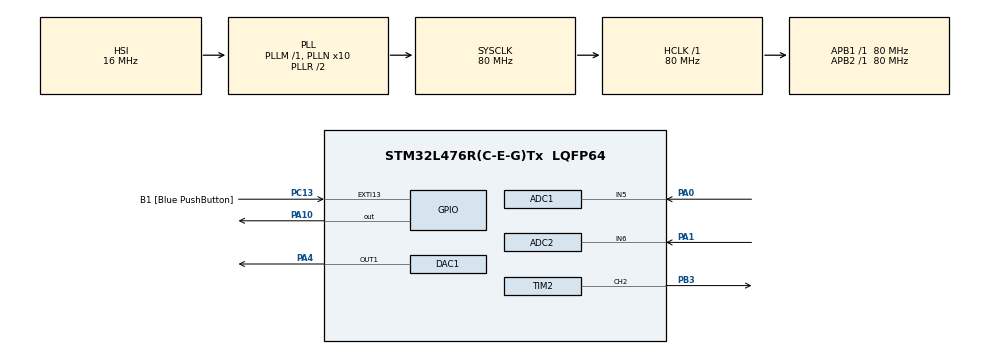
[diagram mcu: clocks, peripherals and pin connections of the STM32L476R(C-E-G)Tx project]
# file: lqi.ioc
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ADC1.Channel-0\#ChannelRegularConversion=ADC_CHANNEL_5
ADC1.ContinuousConvMode=ENABLE
ADC1.DMAContinuousRequests=ENABLE
ADC1.NbrOfConversionFlag=1
ADC1.OffsetNumber-0\#ChannelRegularConversion=ADC_OFFSET_NONE
ADC1.Rank-0\#ChannelRegularConversion=1
ADC1.SamplingTime-0\#ChannelRegularConversion=ADC_SAMPLETIME_92CYCLES_5
ADC1.master=1
ADC2.Channel-0\#ChannelRegularConversion=ADC_CHANNEL_6
ADC2.ContinuousConvMode=ENABLE
ADC2.DMAContinuousRequests=ENABLE
ADC2.NbrOfConversionFlag=1
ADC2.OffsetNumber-0\#ChannelRegularConversion=ADC_OFFSET_NONE
ADC2.Rank-0\#ChannelRegularConversion=1
ADC2.SamplingTime-0\#ChannelRegularConversion=ADC_SAMPLETIME_92CYCLES_5
Dma.ADC1.0.Direction=DMA_PERIPH_TO_MEMORY
Dma.ADC1.0.Instance=DMA1_Channel1
Dma.ADC1.0.MemDataAlignment=DMA_MDATAALIGN_HALFWORD
Dma.ADC1.0.MemInc=DMA_MINC_ENABLE
Dma.ADC1.0.Mode=DMA_CIRCULAR
Dma.ADC1.0.PeriphDataAlignment=DMA_PDATAALIGN_HALFWORD
Dma.ADC1.0.PeriphInc=DMA_PINC_DISABLE
Dma.ADC1.0.Priority=DMA_PRIORITY_LOW
Dma.ADC2.1.Direction=DMA_PERIPH_TO_MEMORY
Dma.ADC2.1.Instance=DMA1_Channel2
Dma.ADC2.1.MemDataAlignment=DMA_MDATAALIGN_HALFWORD
Dma.ADC2.1.MemInc=DMA_MINC_ENABLE
Dma.ADC2.1.Mode=DMA_CIRCULAR
Dma.ADC2.1.PeriphDataAlignment=DMA_PDATAALIGN_HALFWORD
Dma.ADC2.1.PeriphInc=DMA_PINC_DISABLE
Dma.ADC2.1.Priority=DMA_PRIORITY_LOW
Dma.Request0=ADC1
Dma.Request1=ADC2
Mcu.Family=STM32L4
Mcu.Name=STM32L476R(C-E-G)Tx
Mcu.Package=LQFP64
NVIC.DMA1_Channel1_IRQn=true\:0\:0\:false\:false\:true\:false\:true
NVIC.DMA1_Channel2_IRQn=true\:0\:0\:false\:false\:true\:false\:true
NVIC.PriorityGroup=NVIC_PRIORITYGROUP_4
NVIC.TIM3_IRQn=true\:0\:0\:false\:false\:true\:true\:true
PA0.Signal=ADCx_IN5
PA1.Signal=ADCx_IN6
PA10.Signal=GPIO_Output
PA13\ (JTMS-SWDIO).GPIO_Label=TMS
PA13\ (JTMS-SWDIO).Mode=Serial_Wire
PA13\ (JTMS-SWDIO).Signal=SYS_JTMS-SWDIO
PA14\ (JTCK-SWCLK).GPIO_Label=TCK
PA14\ (JTCK-SWCLK).Mode=Serial_Wire
PA14\ (JTCK-SWCLK).Signal=SYS_JTCK-SWCLK
PA4.Signal=COMP_DAC11_group
PB3\ (JTDO-TRACESWO).Signal=S_TIM2_CH2
PC13.GPIO_Label=B1 [Blue PushButton]
PC13.GPIO_ModeDefaultEXTI=GPIO_MODE_IT_FALLING
PC13.GPIO_PuPd=GPIO_NOPULL
PC13.Signal=GPXTI13
PC14-OSC32_IN\ (PC14).Mode=LSE-External-Oscillator
PC14-OSC32_IN\ (PC14).Signal=RCC_OSC32_IN
PC15-OSC32_OUT\ (PC15).Mode=LSE-External-Oscillator
PC15-OSC32_OUT\ (PC15).Signal=RCC_OSC32_OUT
PH0-OSC_IN\ (PH0).Signal=RCC_OSC_IN
PH1-OSC_OUT\ (PH1).Signal=RCC_OSC_OUT
ProjectManager.HeapSize=0x200
ProjectManager.StackSize=0x400
ProjectManager.TargetToolchain=STM32CubeIDE
RCC.ADCFreq_Value=64000000
RCC.AHBFreq_Value=80000000
RCC.APB1Freq_Value=80000000
RCC.APB1TimFreq_Value=80000000
RCC.APB2Freq_Value=80000000
RCC.APB2TimFreq_Value=80000000
RCC.CortexFreq_Value=80000000
RCC.HCLKFreq_Value=80000000
RCC.HSE_VALUE=8000000
RCC.HSI_VALUE=16000000
RCC.MSI_VALUE=4000000
RCC.PLLN=10
RCC.PLLSourceVirtual=RCC_PLLSOURCE_HSI
RCC.PREFETCH_ENABLE=1
RCC.SYSCLKFreq_VALUE=80000000
RCC.SYSCLKSource=RCC_SYSCLKSOURCE_PLLCLK
RCC.USBFreq_Value=64000000
RCC.VCOOutputFreq_Value=160000000
SH.ADCx_IN5.0=ADC1_IN5,IN5-Single-Ended
SH.ADCx_IN6.0=ADC2_IN6,IN6-Single-Ended
SH.COMP_DAC11_group.0=DAC1_OUT1,DAC_OUT1
SH.S_TIM2_CH2.0=TIM2_CH2,PWM Generation2 CH2
TIM2.Channel-PWM\ Generation2\ CH2=TIM_CHANNEL_2
TIM2.Period=2000-1
TIM3.Period=100-1
TIM3.Prescaler=80-1
VP_TIM3_VS_ClockSourceINT.Mode=Internal
board=NUCLEO-L476RG

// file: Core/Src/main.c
/* USER CODE BEGIN Header */
/**
  ******************************************************************************
  * @file           : main.c
  * @brief          : Main program body
  ******************************************************************************
  * @attention
  *
  * <h2><center>&copy; Copyright (c) 2020 STMicroelectronics.
  * All rights reserved.</center></h2>
  *
  * This software component is licensed by ST under BSD 3-Clause license,
  * the "License"; You may not use this file except in compliance with the
  * License. You may obtain a copy of the License at:
  *                        opensource.org/licenses/BSD-3-Clause
  *
  ******************************************************************************
  */
/* USER CODE END Header */

#include "main.h"

/* USER CODE BEGIN Includes */
#include <string.h>
#include <stdio.h>
#include <stdbool.h>
/* USER CODE END Includes */

/* USER CODE BEGIN PD */
#define SIZE 7
#define COUNTER_PERIOD 3999
/* USER CODE END PD */

ADC_HandleTypeDef hadc1;
ADC_HandleTypeDef hadc2;
DMA_HandleTypeDef hdma_adc1;
DMA_HandleTypeDef hdma_adc2;

DAC_HandleTypeDef hdac1;

TIM_HandleTypeDef htim2;
TIM_HandleTypeDef htim3;

/* USER CODE BEGIN PV */
int u = 0;
const int xs0 = 50;
const int xs1 = 5000;
const int us = 337900;
uint16_t iter = 0;
int x[2] = {0,0};
int y[2] = {0,0};
int x_est[2] = {0,0};
int64_t integral = 0;
bool settled = false;
uint8_t settling_iter = 0;
int K[2] = {4305,86};

uint16_t adc_buf0[SIZE];
uint16_t adc_buf1[SIZE];
/* USER CODE END PV */

void SystemClock_Config(void);
static void MX_GPIO_Init(void);
static void MX_DMA_Init(void);
static void MX_ADC1_Init(void);
static void MX_ADC2_Init(void);
static void MX_DAC1_Init(void);
static void MX_TIM2_Init(void);
static void MX_TIM3_Init(void);

/* USER CODE BEGIN 0 */
void swap(int* a, int* b)
{
	int t = *a;
    *a = *b;
    *b = t;
}

int partition (int arr[], int low, int high)
{
	int pivot = arr[high];    // pivot
	int i = (low - 1);  // Index of smaller element

    for (int j = low; j <= high- 1; j++)
    {
        // If current element is smaller than the pivot
        if (arr[j] < pivot)
        {
            i++;    // increment index of smaller element
            swap(&arr[i], &arr[j]);
        }
    }
    swap(&arr[i + 1], &arr[high]);
    return (i + 1);
}

void quickSort(int arr[], int low, int high)
{
    if (low < high)
    {
        /* pi is partitioning index, arr[p] is now
           at right place */
    	int pi = partition(arr, low, high);

        // Separately sort elements before
        // partition and after partition
        quickSort(arr, low, pi - 1);
        quickSort(arr, pi + 1, high);
    }
}

int get_median(int *values){
	int n = sizeof(values)/sizeof(values[0]);
    quickSort(values, 0, n-1);
    return values[SIZE/2];
}

void HAL_TIM_PeriodElapsedCallback(TIM_HandleTypeDef *htim)
{
	if (htim->Instance == htim3.Instance)
    {
		if(iter < 10000){
			iter++;
		}
		else{
			HAL_GPIO_WritePin(GPIOA,GPIO_PIN_10,GPIO_PIN_SET);
			// State measurement
			int value0[SIZE];
			int value1[SIZE];
			for(uint8_t i = 0; i<SIZE; i++){
				value0[i] = (int)adc_buf0[i];
				value1[i] = (int)adc_buf1[i];
			}
			y[0] = get_median(value0);   y[0] *= 1075;  y[0] /= 10000;
			y[1] = get_median(value1);   y[1] *= 29500; y[1] /= 10000;

			// State estimate
			int x0_prev = x[0];
			int x1_prev = x[1];
			x_est[0] = 97136*x0_prev - 978*x1_prev + 14878*u;    x_est[0] /= 100000;
			x_est[1] = 173187*x0_prev + 97046*x1_prev + 18083*u; x_est[1] /= 100000;

			// Combination
			int alpha = 500;
			int alpha_bar = 1000-alpha;
			x[0] = alpha*y[0] + alpha_bar*x_est[0]; x[0] /= 1000;
			x[1] = alpha*y[1] + alpha_bar*x_est[1]; x[1] /= 1000;

			//  LQR
			int dx0 = x[0] - xs0;
			int dx1 = x[1] - xs1;

			u = -K[0]*dx0 - K[1]*dx1;

			if(!settled){
				int diff = x[0]-x0_prev;
				if(diff > -100 && diff < 100){
					settling_iter++;
					if(settling_iter == 100){
						settled = true;
					}
				}
				else{
					settling_iter = 0;
				}
			}
			else{
				int error = 5000-y[1];
				integral += error;
				u += 10*integral;
			}
			u += us;  u /= 1000;
			int input = u*COUNTER_PERIOD/1000;
			if(input < 0) input = 0;
			if(input > COUNTER_PERIOD) input = COUNTER_PERIOD;
			htim2.Instance->CCR2 = input;
			HAL_DAC_SetValue(&hdac1, DAC_CHANNEL_1, DAC_ALIGN_12B_R, input*4095/13197);
		}
	}
	//HAL_GPIO_WritePin(GPIOA,GPIO_PIN_10,GPIO_PIN_RESET);
}
/* USER CODE END 0 */

int main(void)
{

  /* MCU Configuration--------------------------------------------------------*/

  /* Reset of all peripherals, Initializes the Flash interface and the Systick. */
  HAL_Init();

  /* Configure the system clock */
  SystemClock_Config();

  /* Initialize all configured peripherals */
  MX_GPIO_Init();
  MX_DMA_Init();
  MX_ADC1_Init();
  MX_ADC2_Init();
  MX_DAC1_Init();
  MX_TIM2_Init();
  MX_TIM3_Init();
  /* USER CODE BEGIN 2 */
  HAL_DAC_Start(&hdac1, DAC_CHANNEL_1);
  HAL_DAC_Start(&hdac1, DAC_CHANNEL_2);
  HAL_ADC_Start_DMA(&hadc2, (uint32_t*)adc_buf0, SIZE);
  HAL_ADC_Start_DMA(&hadc1, (uint32_t*)adc_buf1, SIZE);
  HAL_TIM_Base_Start_IT(&htim3);
  HAL_TIM_PWM_Start(&htim2, TIM_CHANNEL_2);
  htim2.Instance->CCR2 = 0;
  /* USER CODE END 2 */

  /* Infinite loop */
  while (1)
  {

  }
}

void SystemClock_Config(void)
{
  RCC_OscInitTypeDef RCC_OscInitStruct = {0};
  RCC_ClkInitTypeDef RCC_ClkInitStruct = {0};
  RCC_PeriphCLKInitTypeDef PeriphClkInit = {0};

  /** Initializes the CPU, AHB and APB busses clocks
  */
  RCC_OscInitStruct.OscillatorType = RCC_OSCILLATORTYPE_HSI;
  RCC_OscInitStruct.HSIState = RCC_HSI_ON;
  RCC_OscInitStruct.HSICalibrationValue = RCC_HSICALIBRATION_DEFAULT;
  RCC_OscInitStruct.PLL.PLLState = RCC_PLL_ON;
  RCC_OscInitStruct.PLL.PLLSource = RCC_PLLSOURCE_HSI;
  RCC_OscInitStruct.PLL.PLLM = 1;
  RCC_OscInitStruct.PLL.PLLN = 10;
  RCC_OscInitStruct.PLL.PLLP = RCC_PLLP_DIV7;
  RCC_OscInitStruct.PLL.PLLQ = RCC_PLLQ_DIV2;
  RCC_OscInitStruct.PLL.PLLR = RCC_PLLR_DIV2;
  if (HAL_RCC_OscConfig(&RCC_OscInitStruct) != HAL_OK)
  {
    Error_Handler();
  }
  /** Initializes the CPU, AHB and APB busses clocks
  */
  RCC_ClkInitStruct.ClockType = RCC_CLOCKTYPE_HCLK|RCC_CLOCKTYPE_SYSCLK
                              |RCC_CLOCKTYPE_PCLK1|RCC_CLOCKTYPE_PCLK2;
  RCC_ClkInitStruct.SYSCLKSource = RCC_SYSCLKSOURCE_PLLCLK;
  RCC_ClkInitStruct.AHBCLKDivider = RCC_SYSCLK_DIV1;
  RCC_ClkInitStruct.APB1CLKDivider = RCC_HCLK_DIV1;
  RCC_ClkInitStruct.APB2CLKDivider = RCC_HCLK_DIV1;

  if (HAL_RCC_ClockConfig(&RCC_ClkInitStruct, FLASH_LATENCY_4) != HAL_OK)
  {
    Error_Handler();
  }
  PeriphClkInit.PeriphClockSelection = RCC_PERIPHCLK_ADC;
  PeriphClkInit.AdcClockSelection = RCC_ADCCLKSOURCE_PLLSAI1;
  PeriphClkInit.PLLSAI1.PLLSAI1Source = RCC_PLLSOURCE_HSI;
  PeriphClkInit.PLLSAI1.PLLSAI1M = 1;
  PeriphClkInit.PLLSAI1.PLLSAI1N = 8;
  PeriphClkInit.PLLSAI1.PLLSAI1P = RCC_PLLP_DIV7;
  PeriphClkInit.PLLSAI1.PLLSAI1Q = RCC_PLLQ_DIV2;
  PeriphClkInit.PLLSAI1.PLLSAI1R = RCC_PLLR_DIV2;
  PeriphClkInit.PLLSAI1.PLLSAI1ClockOut = RCC_PLLSAI1_ADC1CLK;
  if (HAL_RCCEx_PeriphCLKConfig(&PeriphClkInit) != HAL_OK)
  {
    Error_Handler();
  }
  /** Configure the main internal regulator output voltage
  */
  if (HAL_PWREx_ControlVoltageScaling(PWR_REGULATOR_VOLTAGE_SCALE1) != HAL_OK)
  {
    Error_Handler();
  }
}

static void MX_ADC1_Init(void)
{

  ADC_MultiModeTypeDef multimode = {0};
  ADC_ChannelConfTypeDef sConfig = {0};

  /** Common config
  */
  hadc1.Instance = ADC1;
  hadc1.Init.ClockPrescaler = ADC_CLOCK_ASYNC_DIV1;
  hadc1.Init.Resolution = ADC_RESOLUTION_12B;
  hadc1.Init.DataAlign = ADC_DATAALIGN_RIGHT;
  hadc1.Init.ScanConvMode = ADC_SCAN_DISABLE;
  hadc1.Init.EOCSelection = ADC_EOC_SINGLE_CONV;
  hadc1.Init.LowPowerAutoWait = DISABLE;
  hadc1.Init.ContinuousConvMode = ENABLE;
  hadc1.Init.NbrOfConversion = 1;
  hadc1.Init.DiscontinuousConvMode = DISABLE;
  hadc1.Init.NbrOfDiscConversion = 1;
  hadc1.Init.ExternalTrigConv = ADC_SOFTWARE_START;
  hadc1.Init.ExternalTrigConvEdge = ADC_EXTERNALTRIGCONVEDGE_NONE;
  hadc1.Init.DMAContinuousRequests = ENABLE;
  hadc1.Init.Overrun = ADC_OVR_DATA_PRESERVED;
  hadc1.Init.OversamplingMode = DISABLE;
  if (HAL_ADC_Init(&hadc1) != HAL_OK)
  {
    Error_Handler();
  }
  /** Configure the ADC multi-mode
  */
  multimode.Mode = ADC_MODE_INDEPENDENT;
  if (HAL_ADCEx_MultiModeConfigChannel(&hadc1, &multimode) != HAL_OK)
  {
    Error_Handler();
  }
  /** Configure Regular Channel
  */
  sConfig.Channel = ADC_CHANNEL_5;
  sConfig.Rank = ADC_REGULAR_RANK_1;
  sConfig.SamplingTime = ADC_SAMPLETIME_92CYCLES_5;
  sConfig.SingleDiff = ADC_SINGLE_ENDED;
  sConfig.OffsetNumber = ADC_OFFSET_NONE;
  sConfig.Offset = 0;
  if (HAL_ADC_ConfigChannel(&hadc1, &sConfig) != HAL_OK)
  {
    Error_Handler();
  }

}

static void MX_ADC2_Init(void)
{

  ADC_ChannelConfTypeDef sConfig = {0};

  /** Common config
  */
  hadc2.Instance = ADC2;
  hadc2.Init.ClockPrescaler = ADC_CLOCK_ASYNC_DIV1;
  hadc2.Init.Resolution = ADC_RESOLUTION_12B;
  hadc2.Init.DataAlign = ADC_DATAALIGN_RIGHT;
  hadc2.Init.ScanConvMode = ADC_SCAN_DISABLE;
  hadc2.Init.EOCSelection = ADC_EOC_SINGLE_CONV;
  hadc2.Init.LowPowerAutoWait = DISABLE;
  hadc2.Init.ContinuousConvMode = ENABLE;
  hadc2.Init.NbrOfConversion = 1;
  hadc2.Init.DiscontinuousConvMode = DISABLE;
  hadc2.Init.NbrOfDiscConversion = 1;
  hadc2.Init.ExternalTrigConv = ADC_SOFTWARE_START;
  hadc2.Init.ExternalTrigConvEdge = ADC_EXTERNALTRIGCONVEDGE_NONE;
  hadc2.Init.DMAContinuousRequests = ENABLE;
  hadc2.Init.Overrun = ADC_OVR_DATA_PRESERVED;
  hadc2.Init.OversamplingMode = DISABLE;
  if (HAL_ADC_Init(&hadc2) != HAL_OK)
  {
    Error_Handler();
  }
  /** Configure Regular Channel
  */
  sConfig.Channel = ADC_CHANNEL_6;
  sConfig.Rank = ADC_REGULAR_RANK_1;
  sConfig.SamplingTime = ADC_SAMPLETIME_92CYCLES_5;
  sConfig.SingleDiff = ADC_SINGLE_ENDED;
  sConfig.OffsetNumber = ADC_OFFSET_NONE;
  sConfig.Offset = 0;
  if (HAL_ADC_ConfigChannel(&hadc2, &sConfig) != HAL_OK)
  {
    Error_Handler();
  }

}

static void MX_DAC1_Init(void)
{

  DAC_ChannelConfTypeDef sConfig = {0};

  /** DAC Initialization
  */
  hdac1.Instance = DAC1;
  if (HAL_DAC_Init(&hdac1) != HAL_OK)
  {
    Error_Handler();
  }
  /** DAC channel OUT1 config
  */
  sConfig.DAC_SampleAndHold = DAC_SAMPLEANDHOLD_DISABLE;
  sConfig.DAC_Trigger = DAC_TRIGGER_NONE;
  sConfig.DAC_OutputBuffer = DAC_OUTPUTBUFFER_ENABLE;
  sConfig.DAC_ConnectOnChipPeripheral = DAC_CHIPCONNECT_DISABLE;
  sConfig.DAC_UserTrimming = DAC_TRIMMING_FACTORY;
  if (HAL_DAC_ConfigChannel(&hdac1, &sConfig, DAC_CHANNEL_1) != HAL_OK)
  {
    Error_Handler();
  }

}

static void MX_TIM2_Init(void)
{

  TIM_MasterConfigTypeDef sMasterConfig = {0};
  TIM_OC_InitTypeDef sConfigOC = {0};

  htim2.Instance = TIM2;
  htim2.Init.Prescaler = 0;
  htim2.Init.CounterMode = TIM_COUNTERMODE_UP;
  htim2.Init.Period = 4000-1;
  htim2.Init.ClockDivision = TIM_CLOCKDIVISION_DIV1;
  htim2.Init.AutoReloadPreload = TIM_AUTORELOAD_PRELOAD_DISABLE;
  if (HAL_TIM_PWM_Init(&htim2) != HAL_OK)
  {
    Error_Handler();
  }
  sMasterConfig.MasterOutputTrigger = TIM_TRGO_RESET;
  sMasterConfig.MasterSlaveMode = TIM_MASTERSLAVEMODE_DISABLE;
  if (HAL_TIMEx_MasterConfigSynchronization(&htim2, &sMasterConfig) != HAL_OK)
  {
    Error_Handler();
  }
  sConfigOC.OCMode = TIM_OCMODE_PWM1;
  sConfigOC.Pulse = 0;
  sConfigOC.OCPolarity = TIM_OCPOLARITY_HIGH;
  sConfigOC.OCFastMode = TIM_OCFAST_DISABLE;
  if (HAL_TIM_PWM_ConfigChannel(&htim2, &sConfigOC, TIM_CHANNEL_2) != HAL_OK)
  {
    Error_Handler();
  }
  HAL_TIM_MspPostInit(&htim2);

}

static void MX_TIM3_Init(void)
{

  TIM_ClockConfigTypeDef sClockSourceConfig = {0};
  TIM_MasterConfigTypeDef sMasterConfig = {0};

  htim3.Instance = TIM3;
  htim3.Init.Prescaler = 80-1;
  htim3.Init.CounterMode = TIM_COUNTERMODE_UP;
  htim3.Init.Period = 100-1;
  htim3.Init.ClockDivision = TIM_CLOCKDIVISION_DIV1;
  htim3.Init.AutoReloadPreload = TIM_AUTORELOAD_PRELOAD_DISABLE;
  if (HAL_TIM_Base_Init(&htim3) != HAL_OK)
  {
    Error_Handler();
  }
  sClockSourceConfig.ClockSource = TIM_CLOCKSOURCE_INTERNAL;
  if (HAL_TIM_ConfigClockSource(&htim3, &sClockSourceConfig) != HAL_OK)
  {
    Error_Handler();
  }
  sMasterConfig.MasterOutputTrigger = TIM_TRGO_RESET;
  sMasterConfig.MasterSlaveMode = TIM_MASTERSLAVEMODE_DISABLE;
  if (HAL_TIMEx_MasterConfigSynchronization(&htim3, &sMasterConfig) != HAL_OK)
  {
    Error_Handler();
  }

}

static void MX_DMA_Init(void)
{

  /* DMA controller clock enable */
  __HAL_RCC_DMA1_CLK_ENABLE();

  /* DMA interrupt init */
  /* DMA1_Channel1_IRQn interrupt configuration */
  HAL_NVIC_SetPriority(DMA1_Channel1_IRQn, 0, 0);
  HAL_NVIC_EnableIRQ(DMA1_Channel1_IRQn);
  /* DMA1_Channel2_IRQn interrupt configuration */
  HAL_NVIC_SetPriority(DMA1_Channel2_IRQn, 0, 0);
  HAL_NVIC_EnableIRQ(DMA1_Channel2_IRQn);

}

static void MX_GPIO_Init(void)
{
  GPIO_InitTypeDef GPIO_InitStruct = {0};

  /* GPIO Ports Clock Enable */
  __HAL_RCC_GPIOC_CLK_ENABLE();
  __HAL_RCC_GPIOH_CLK_ENABLE();
  __HAL_RCC_GPIOA_CLK_ENABLE();
  __HAL_RCC_GPIOB_CLK_ENABLE();

  /*Configure GPIO pin Output Level */
  HAL_GPIO_WritePin(GPIOA, GPIO_PIN_10, GPIO_PIN_RESET);

  /*Configure GPIO pin : B1_Pin */
  GPIO_InitStruct.Pin = B1_Pin;
  GPIO_InitStruct.Mode = GPIO_MODE_IT_FALLING;
  GPIO_InitStruct.Pull = GPIO_NOPULL;
  HAL_GPIO_Init(B1_GPIO_Port, &GPIO_InitStruct);

  /*Configure GPIO pin : PA10 */
  GPIO_InitStruct.Pin = GPIO_PIN_10;
  GPIO_InitStruct.Mode = GPIO_MODE_OUTPUT_PP;
  GPIO_InitStruct.Pull = GPIO_NOPULL;
  GPIO_InitStruct.Speed = GPIO_SPEED_FREQ_LOW;
  HAL_GPIO_Init(GPIOA, &GPIO_InitStruct);

}

void Error_Handler(void)
{
}

/************************ (C) COPYRIGHT STMicroelectronics *****END OF FILE****/
